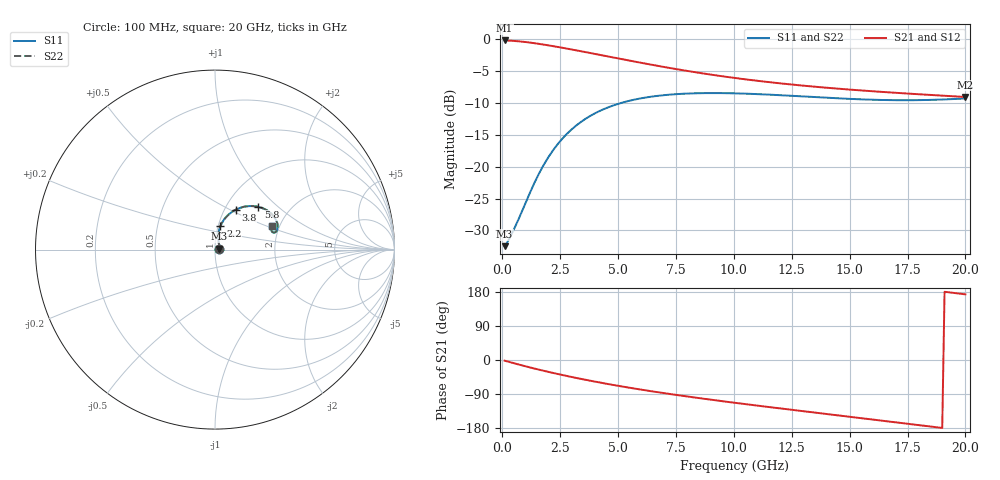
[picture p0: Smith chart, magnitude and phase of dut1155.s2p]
! Touchstone file exported from HFSS 2024.1.0
!  File:  C:/UserFiles/LocalFiles/RDL_TSV_Batchsim/temp_RDL_TSV_1155_1780118758.aedt
!  Generated:  01:42:01 PM May 30, 2026
!  Design:  RDL_TSV
!  Project:  temp_RDL_TSV_1155_1780118758
!  Setup:  Setup1
!  Solution:  Sweep
! Variables:
!  dtsv = 11.18um
!  hbump = 3um
!  htsv = 58.34um
!  ldown = 345.16um
!  lrdl = 422.47um
!  p = 40
!  p1 = 55.89um
!  rhole = 10um
!  subl = 2725.36um
!  t = 450um
!  tdown = 2.05um
!  trdl = 3.21um
!  viad = 10um
!  wdown = 12.33um
!  wrdl = 20.56um
!  xbump = 18um
# GHz S MA R 50.000000
! Terminal data exported
! Port[1] = TM1_1_T1
! Port[2] = TM1_4_T1
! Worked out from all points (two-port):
!   200 points, 100 MHz to 20 GHz, reference 50 ohm
!   highest |S21| = -0.21 dB at 100 MHz (marker M1); lowest = -9.1 dB at 20 GHz (marker M2)
!   |S21| within 3 dB of the highest: start of sweep to 5.264 GHz
!   lowest |S11| = -32.5 dB at 100 MHz (marker M3), VSWR 1.05, Z = 52.4 + j0.493 ohm
!   |S11| at or under -10 dB: start of sweep to 5.14 GHz
!   |S22| runs from -32.5 to -8.4 dB; largest |S21 - S12| = 1.1e-14
!   S11 on the Smith chart (normalised r, x): 100 MHz: 1.05, +0.01; 2.2 GHz: 1.03, +0.28; 3.8 GHz: 1.13, +0.53; 5.8 GHz: 1.40, +0.75; 20 GHz: 1.83, +0.54
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0.1  0.02382 11.4  0.9763 -1.7  0.9763 -1.7  0.02382 11.4
! Gamma 0 0 0 0
! Port Impedance 50 0 50 0
0.2  0.02523 21.6  0.9751 -3.4  0.9751 -3.4  0.02523 21.6
0.5  0.03223 44.4  0.9682 -8.5  0.9682 -8.5  0.03223 44.4
0.8  0.04253 60.3  0.9578 -13.4  0.9578 -13.4  0.04252 60.3
1.2  0.06282 72.9  0.9394 -19.7  0.9394 -19.7  0.06282 72.9
1.7  0.09669 78.0  0.9116 -27.2  0.9116 -27.2  0.09672 78.1
2.2  0.1351 77.0  0.8808 -34.3  0.8808 -34.3  0.1352 77.0
2.8  0.1816 72.4  0.8424 -42.3  0.8424 -42.3  0.1817 72.4
3.5  0.2312 65.6  0.7974 -51.1  0.7974 -51.1  0.2314 65.6
3.8  0.2501 62.6  0.7784 -54.7  0.7784 -54.7  0.2504 62.6
4.7  0.2979 54.0  0.7235 -64.9  0.7235 -64.9  0.2982 54.0
5.8  0.3383 44.7  0.6621 -76.3  0.6621 -76.3  0.3388 44.7
6.8  0.3608 37.6  0.613 -85.8  0.613 -85.8  0.3614 37.7
7.6  0.3712 32.8  0.5784 -92.9  0.5784 -92.9  0.3719 32.9
8.4  0.3765 28.8  0.5478 -99.7  0.5478 -99.7  0.3772 28.8
10.1  0.3756 22.2  0.4944 -113.4  0.4944 -113.4  0.3765 22.2
11.7  0.3659 18.3  0.4562 -125.5  0.4562 -125.5  0.3669 18.3
13.4  0.352 16.3  0.425 -138.1  0.425 -138.1  0.3532 16.3
15  0.3401 16.2  0.4021 -149.8  0.4021 -149.8  0.3414 16.2
16.7  0.3326 17.7  0.3824 -162.3  0.3824 -162.3  0.3339 17.6
18.3  0.3332 19.9  0.3668 -174.1  0.3668 -174.1  0.3345 19.8
20  0.3429 22.3  0.352 173.3  0.352 173.3  0.344 22.2
